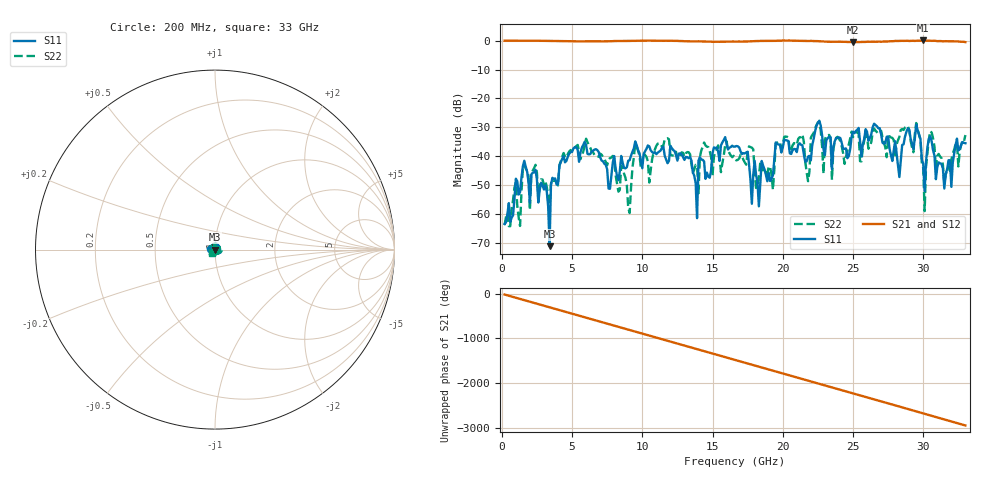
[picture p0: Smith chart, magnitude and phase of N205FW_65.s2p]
# GHZ S RI R 50
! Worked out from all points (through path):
!   329 points, 200 MHz to 33 GHz, reference 50 ohm
!   highest |S21| = 0.08 dB at 30 GHz (marker M1); lowest = -0.5 dB at 25 GHz (marker M2)
!   group delay of S21, straight-line fit = 248 ps
!   lowest |S11| = -71.2 dB at 3.4 GHz (marker M3), VSWR 1.00, Z = 50 + j0.0234 ohm
!   |S11| at or under -10 dB: start of sweep to end of sweep
!   |S22| runs from -64.3 to -28.3 dB; largest |S21 - S12| = 0.0022
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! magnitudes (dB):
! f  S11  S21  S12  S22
! 200 MHz  -63.5  0.0  0.0  -63.9
! 1.3 GHz  -52.4  0.0  0.0  -64.2
! 1.6 GHz  -41.6  0.0  0.0  -42.7
! 3.1 GHz  -50.1  -0.1  -0.1  -48.7
! 3.4 GHz  -71.2  -0.1  -0.1  -57.0
! 3.6 GHz  -47.5  -0.1  -0.1  -48.1
! 5.7 GHz  -37.1  -0.2  -0.2  -39.8
! 9.1 GHz  -41.4  -0.1  -0.1  -59.7
! 9.5 GHz  -34.9  -0.1  -0.1  -35.8
! 11.2 GHz  -38.5  0.0  0.0  -35.5
! 13.4 GHz  -40.3  -0.2  -0.2  -39.3
! 13.9 GHz  -61.5  -0.3  -0.3  -43.4
! 14.1 GHz  -40.4  -0.2  -0.2  -40.4
! 16.6 GHz  -36.7  -0.3  -0.3  -41.1
! 18.3 GHz  -57.4  -0.1  -0.1  -47.1
! 19.5 GHz  -35.3  -0.1  -0.1  -35.5
! 21.8 GHz  -40.2  -0.1  -0.1  -48.7
! 22.1 GHz  -36.2  -0.1  -0.1  -32.7
! 25 GHz  -31.5  -0.5  -0.5  -33.4
! 27.6 GHz  -37.4  -0.2  -0.2  -33.1
! 30 GHz  -42.7  0.1  0.1  -44.2
! 33 GHz  -35.5  -0.5  -0.5  -32.7
